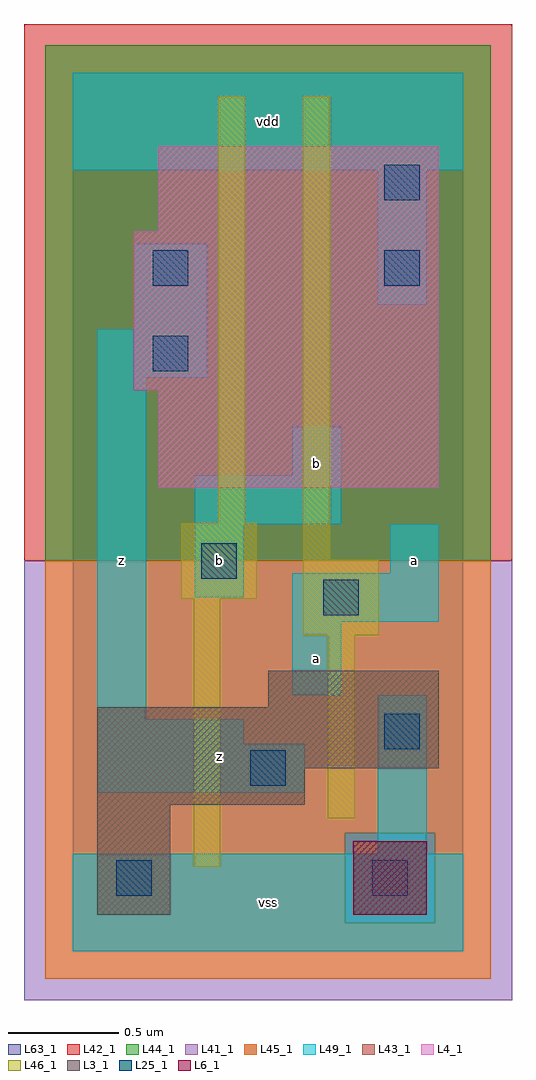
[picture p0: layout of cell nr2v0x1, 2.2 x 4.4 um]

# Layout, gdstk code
import gdstk
lib = gdstk.Library(unit=1e-6, precision=1e-09)
def R(c, l, rs):  # rectangles x0, y0, x1, y1
    for r in rs: c.add(gdstk.rectangle(r[:2], r[2:], *l))
L3_1 = (3, 1)
L4_1 = (4, 1)
L6_1 = (6, 1)
L25_1 = (25, 1)
L41_1 = (41, 1)
L42_1 = (42, 1)
L43_1 = (43, 1)
L44_1 = (44, 1)
L45_1 = (45, 1)
L46_1 = (46, 1)
L49_1 = (49, 1)
L63_1 = (63, 1)

nr2v0x1 = lib.new_cell('nr2v0x1')
R(nr2v0x1, L3_1, [(0.11,0.165,0.44,0.66), (0.11,0.66,1.045,0.825), (0.11,0.825,1.65,1.1), (0.88,1.1,1.65,1.265)])
R(nr2v0x1, L4_1, [(0.385,2.09,1.65,2.53), (0.275,2.53,1.65,3.245), (0.385,3.245,1.65,3.63)])
R(nr2v0x1, L6_1, [(1.265,0.165,1.595,0.495)])
R(nr2v0x1, L25_1, [(0.195,0.25,0.355,0.41), (1.35,0.25,1.51,0.41), (0.8,0.745,0.96,0.905), (1.405,0.91,1.565,1.07), (1.13,1.515,1.29,1.675), (0.58,1.68,0.74,1.84), (0.36,2.615,0.52,2.775), (0.36,3,0.52,3.16), (1.405,3,1.565,3.16), (1.405,3.385,1.565,3.545)])
R(nr2v0x1, L41_1, [(-0.22,-0.22,1.98,1.76)])
R(nr2v0x1, L42_1, [(-0.22,1.76,1.98,4.18)])
R(nr2v0x1, L43_1, [(0.11,0.165,0.44,0.66), (1.265,0.165,1.595,0.495), (0.11,0.66,1.045,0.825), (0.11,0.825,1.65,1.1), (0.88,1.1,1.65,1.265), (0.385,2.09,1.65,2.53), (0.275,2.53,1.65,3.245), (0.385,3.245,1.65,3.63)])
R(nr2v0x1, L44_1, [(1.225,0.125,1.635,0.535), (-0.125,1.76,1.885,4.085)])
R(nr2v0x1, L45_1, [(-0.125,-0.125,1.885,0.125), (-0.125,0.125,1.225,0.535), (1.635,0.125,1.885,0.535), (-0.125,0.535,1.885,1.76)])
R(nr2v0x1, L46_1, [(0.545,0.38,0.665,1.59), (1.15,0.6,1.27,1.425), (1.04,1.425,1.38,1.765), (0.49,1.59,0.83,1.93), (1.04,1.765,1.16,3.855), (0.655,1.93,0.775,3.855)])
R(nr2v0x1, L49_1, [(0,0,1.76,0.44), (1.375,0.44,1.595,1.155), (0.11,0.715,1.045,0.935), (0.11,0.935,0.77,1.045), (0.11,1.045,0.33,2.585), (0.99,1.155,1.21,1.485), (0.99,1.485,1.65,1.705), (0.55,1.595,0.77,1.925), (1.43,1.705,1.65,1.925), (0.55,1.925,1.21,2.145), (0.99,2.145,1.21,2.365), (0.11,2.585,0.605,2.805), (0.275,2.805,0.605,3.19), (1.375,2.915,1.595,3.52), (0,3.52,1.76,3.96)])
R(nr2v0x1, L63_1, [(0,0,1.76,3.96)])
nr2v0x1.add(gdstk.Label('z', (0.22,1.76), layer=49, texttype=1))
nr2v0x1.add(gdstk.Label('z', (0.66,0.88), layer=49, texttype=1))
nr2v0x1.add(gdstk.Label('b', (0.66,1.76), layer=49, texttype=1))
nr2v0x1.add(gdstk.Label('vss', (0.88,0.22), layer=49, texttype=1))
nr2v0x1.add(gdstk.Label('a', (1.1,1.32), layer=49, texttype=1))
nr2v0x1.add(gdstk.Label('b', (1.1,2.2), layer=49, texttype=1))
nr2v0x1.add(gdstk.Label('vdd', (0.88,3.74), layer=49, texttype=1))
nr2v0x1.add(gdstk.Label('a', (1.54,1.76), layer=49, texttype=1))

lib.write_gds('nr2v0x1.gds')
